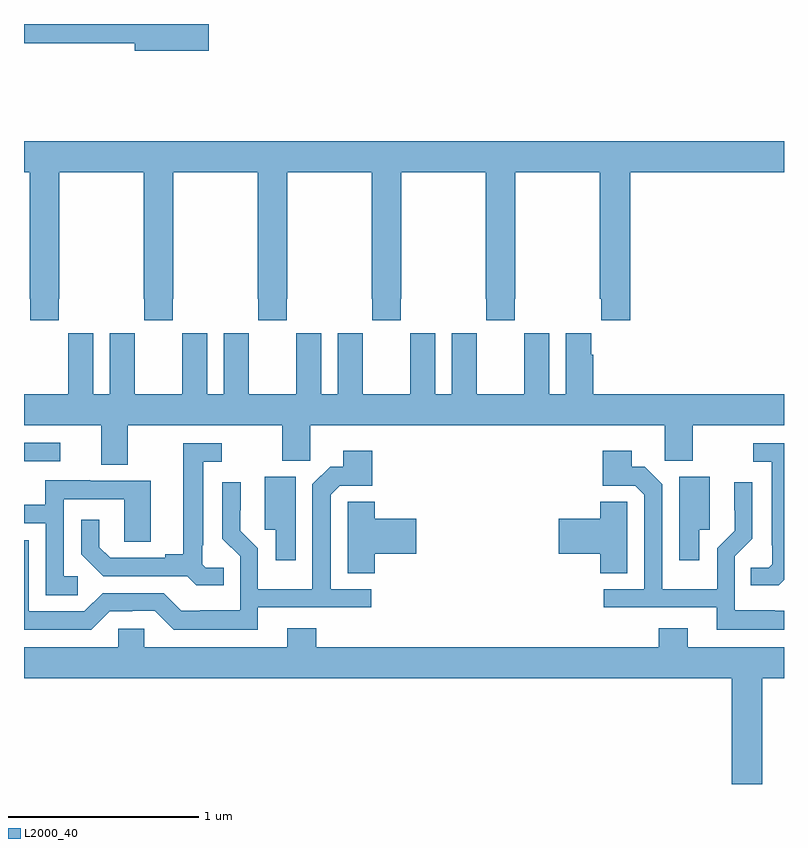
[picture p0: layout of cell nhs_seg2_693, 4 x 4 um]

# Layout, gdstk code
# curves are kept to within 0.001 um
import gdstk
lib = gdstk.Library(unit=1e-6, precision=1e-09)
def R(c, l, rs):  # rectangles x0, y0, x1, y1
    for r in rs: c.add(gdstk.rectangle(r[:2], r[2:], *l))
def P(c, l, *ps):  # polygons
    for p in ps: c.add(gdstk.Polygon(p, *l))
L2000_40 = (2000, 40)

nhs_seg2_693 = lib.new_cell('nhs_seg2_693')
R(nhs_seg2_693, L2000_40, [(147,595.5,147.19,595.596)])
P(nhs_seg2_693, L2000_40, [(147.973,597.8),(147,597.8),(147,597.7),(147.584,597.7),(147.584,597.658),(147.973,597.658)],
  [(147.183,596.353),(147.186,596.353),(147.186,597.02),(147.631,597.02),(147.631,596.353),(147.633,596.353),(147.633,596.241),(147.783,596.241),(147.783,596.353),(147.786,596.353),(147.786,597.02),(148.231,597.02),(148.231,596.353),(148.233,596.353),(148.233,596.241),(148.383,596.241),(148.383,596.353),(148.386,596.353),(148.386,597.02),(148.831,597.02),(148.831,596.353),(148.833,596.353),(148.833,596.241),(148.983,596.241),(148.983,596.353),(148.986,596.353),(148.986,597.02),(149.431,597.02),(149.431,596.353),(149.433,596.353),(149.433,596.241),(149.583,596.241),(149.583,596.353),(149.586,596.353),(149.586,597.02),(150.031,597.02),(150.031,596.353),(150.037,596.353),(150.037,596.241),(150.191,596.241),(150.191,597.02),(151,597.02),(151,597.184),(147,597.184),(147,597.02),(147.031,597.02),(147.031,596.353),(147.033,596.353),(147.033,596.241),(147.183,596.241)],
  [(147.547,595.688),(148.36,595.688),(148.36,595.501),(148.506,595.501),(148.506,595.688),(150.372,595.688),(150.372,595.501),(150.519,595.501),(150.519,595.688),(151,595.688),(151,595.852),(149.996,595.852),(149.996,596.06),(149.986,596.06),(149.986,596.173),(149.852,596.173),(149.852,595.852),(149.764,595.852),(149.764,596.173),(149.634,596.173),(149.634,596.06),(149.633,596.06),(149.633,595.852),(149.383,595.852),(149.383,596.06),(149.382,596.06),(149.382,596.173),(149.252,596.173),(149.252,595.852),(149.164,595.852),(149.164,596.173),(149.034,596.173),(149.034,596.06),(149.033,596.06),(149.033,595.852),(148.783,595.852),(148.783,596.06),(148.782,596.06),(148.782,596.173),(148.652,596.173),(148.652,595.852),(148.564,595.852),(148.564,596.173),(148.434,596.173),(148.434,596.06),(148.433,596.06),(148.433,595.852),(148.183,595.852),(148.183,596.06),(148.182,596.06),(148.182,596.173),(148.052,596.173),(148.052,595.852),(147.964,595.852),(147.964,596.173),(147.834,596.173),(147.834,596.06),(147.833,596.06),(147.833,595.852),(147.583,595.852),(147.583,596.06),(147.582,596.06),(147.582,596.173),(147.452,596.173),(147.452,595.852),(147.364,595.852),(147.364,596.173),(147.234,596.173),(147.234,596.06),(147.233,596.06),(147.233,595.852),(147,595.852),(147,595.688),(147.407,595.688),(147.407,595.48),(147.547,595.48)],
  [(151,594.874),(151,595.593),(150.837,595.593),(150.837,595.497),(150.935,595.497),(150.935,595.057),(150.939,595.057),(150.939,594.957),(150.921,594.939),(150.826,594.939),(150.826,594.847),(150.972,594.847)],
  [(148.052,594.939),(147.957,594.939),(147.939,594.957),(147.939,595.057),(147.943,595.057),(147.943,595.497),(148.042,595.497),(148.042,595.593),(147.839,595.593),(147.839,595.01),(147.743,595.01),(147.743,594.99),(147.454,594.99),(147.397,595.047),(147.397,595.192),(147.3,595.192),(147.3,595.01),(147.416,594.894),(147.858,594.894),(147.906,594.847),(148.052,594.847)],
  [(151,594.711),(150.95,594.711),(150.95,594.715),(150.741,594.715),(150.741,594.999),(150.834,595.092),(150.834,595.387),(150.738,595.387),(150.738,595.24),(150.74,595.24),(150.74,595.134),(150.648,595.042),(150.648,594.826),(150.36,594.826),(150.36,595.377),(150.267,595.47),(150.199,595.47),(150.199,595.555),(150.047,595.555),(150.047,595.371),(150.216,595.371),(150.264,595.323),(150.264,594.825),(150.051,594.825),(150.051,594.729),(150.647,594.729),(150.647,594.611),(151,594.611)],
  [(148.231,594.729),(148.828,594.729),(148.828,594.825),(148.614,594.825),(148.614,595.323),(148.662,595.371),(148.832,595.371),(148.832,595.555),(148.679,595.555),(148.679,595.47),(148.611,595.47),(148.518,595.377),(148.518,594.826),(148.23,594.826),(148.23,595.042),(148.139,595.134),(148.14,595.387),(148.044,595.387),(148.044,595.092),(148.137,594.999),(148.137,594.715),(147.928,594.715),(147.928,594.711),(147.828,594.711),(147.735,594.804),(147.414,594.804),(147.318,594.708),(147.024,594.708),(147.024,595.084),(147,595.084),(147,594.612),(147.354,594.612),(147.45,594.708),(147.57,594.708),(147.57,594.711),(147.687,594.711),(147.787,594.611),(148.231,594.611)],
  [(150.553,595.137),(150.61,595.137),(150.61,595.416),(150.449,595.416),(150.449,594.978),(150.553,594.978)],
  [(148.429,595.416),(148.268,595.416),(148.268,595.137),(148.325,595.137),(148.325,594.978),(148.429,594.978)],
  [(147.283,594.894),(147.21,594.894),(147.21,595.299),(147.528,595.299),(147.528,595.075),(147.667,595.075),(147.667,595.395),(147.349,595.395),(147.349,595.399),(147.113,595.399),(147.113,595.27),(147,595.27),(147,595.173),(147.114,595.173),(147.114,594.793),(147.283,594.793)],
  [(148.847,595.013),(149.065,595.013),(149.065,595.196),(148.847,595.196),(148.847,595.286),(148.704,595.286),(148.704,595.178),(148.703,595.178),(148.703,594.91),(148.847,594.91)],
  [(150.175,595.178),(150.174,595.178),(150.174,595.286),(150.032,595.286),(150.032,595.196),(149.814,595.196),(149.814,595.013),(150.032,595.013),(150.032,594.91),(150.175,594.91)],
  [(150.885,594.356),(151,594.356),(151,594.52),(150.493,594.52),(150.493,594.619),(150.341,594.619),(150.341,594.52),(148.538,594.52),(148.538,594.619),(148.385,594.619),(148.385,594.52),(147.633,594.52),(147.633,594.618),(147.495,594.618),(147.495,594.52),(147,594.52),(147,594.356),(150.725,594.356),(150.725,593.8),(150.885,593.8)])

lib.write_gds('nhs_seg2_693.gds')
